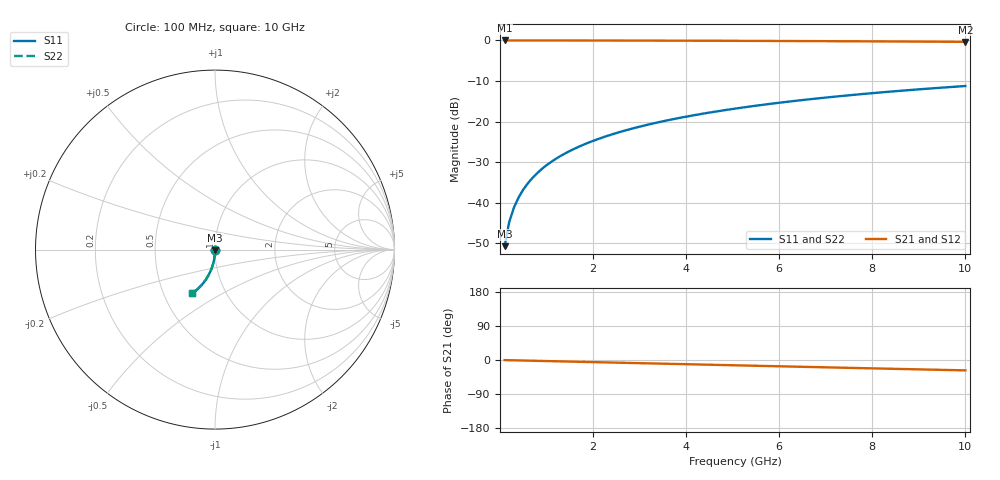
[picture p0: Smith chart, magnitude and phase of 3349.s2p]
# Hz S RI R 50.00
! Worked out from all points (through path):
!   100 points, 100 MHz to 10 GHz, reference 50 ohm
!   highest |S21| = 0.00 dB at 100 MHz (marker M1); lowest = -0.3 dB at 10 GHz (marker M2)
!   group delay of S21, straight-line fit = 7.62 ps
!   lowest |S11| = -50.8 dB at 100 MHz (marker M3), VSWR 1.01, Z = 50 - j0.289 ohm
!   |S11| at or under -10 dB: start of sweep to end of sweep
!   |S22| runs from -50.8 to -11.2 dB; largest |S21 - S12| = 0
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1e8  0.000262 -0.00289  0.9997 -0.00484  0.9997 -0.00484  0.000262 -0.00289
2e8  0.000219 -0.00577  0.9996 -0.00969  0.9996 -0.00969  0.000219 -0.00577
3e8  0.000146 -0.00866  0.9996 -0.0145  0.9996 -0.0145  0.000146 -0.00866
4e8  4.58e-05 -0.0115  0.9994 -0.0194  0.9994 -0.0194  4.58e-05 -0.0115
5e8  -8.28e-05 -0.0144  0.9993 -0.0242  0.9993 -0.0242  -8.28e-05 -0.0144
6e8  -0.000239 -0.0173  0.9991 -0.0291  0.9991 -0.0291  -0.000239 -0.0173
7e8  -0.000424 -0.0202  0.9989 -0.0339  0.9989 -0.0339  -0.000424 -0.0202
8e8  -0.000637 -0.0231  0.9987 -0.0387  0.9987 -0.0387  -0.000637 -0.0231
9e8  -0.000878 -0.026  0.9984 -0.0436  0.9984 -0.0436  -0.000878 -0.026
1.1e9  -0.00144 -0.0317  0.9977 -0.0532  0.9977 -0.0532  -0.00144 -0.0317
1.4e9  -0.0025 -0.0403  0.9965 -0.0677  0.9965 -0.0677  -0.0025 -0.0403
1.8e9  -0.0043 -0.0517  0.9945 -0.087  0.9945 -0.087  -0.0043 -0.0517
2.1e9  -0.00594 -0.0603  0.9926 -0.1014  0.9926 -0.1014  -0.00594 -0.0603
2.5e9  -0.0085 -0.0715  0.9897 -0.1205  0.9897 -0.1205  -0.0085 -0.0715
2.9e9  -0.0115 -0.0827  0.9863 -0.1396  0.9863 -0.1396  -0.0115 -0.0827
3.4e9  -0.0159 -0.0965  0.9813 -0.1632  0.9813 -0.1632  -0.0159 -0.0965
4.2e9  -0.0242 -0.118  0.9718 -0.2005  0.9718 -0.2005  -0.0242 -0.118
5.1e9  -0.0354 -0.1412  0.9589 -0.2416  0.9589 -0.2416  -0.0354 -0.1412
5.9e9  -0.0471 -0.1609  0.9455 -0.2772  0.9455 -0.2772  -0.0471 -0.1609
6.7e9  -0.0601 -0.1796  0.9305 -0.3118  0.9305 -0.3118  -0.0601 -0.1796
8.4e9  -0.0919 -0.2152  0.8935 -0.3816  0.8935 -0.3816  -0.0919 -0.2152
1e10  -0.1261 -0.2433  0.8533 -0.4421  0.8533 -0.4421  -0.1261 -0.2433
